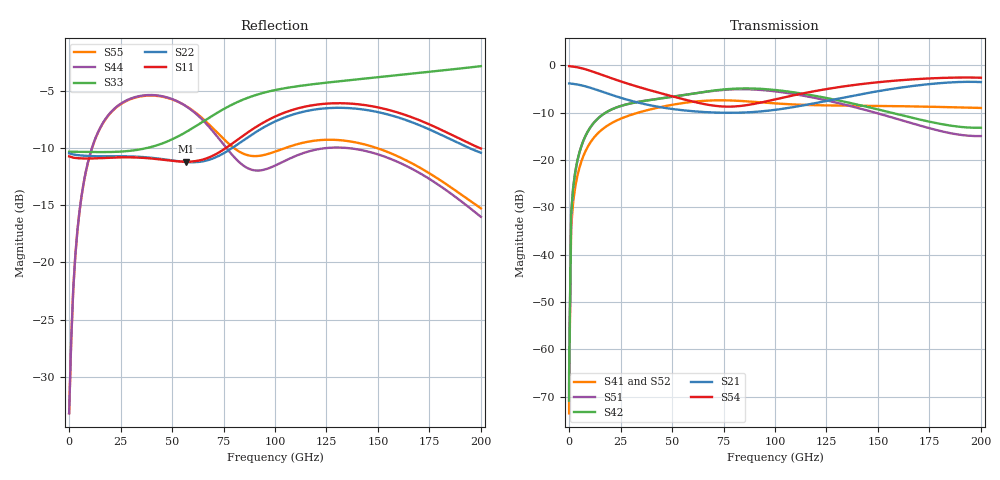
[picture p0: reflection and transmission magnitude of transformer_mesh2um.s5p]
! Created with skrf 2.1.0 (http://scikit-rf.org).
# GHz S DB R 50.0
! Port[1] = P1
! Port[2] = P2
! Port[3] = P3
! Port[4] = P4
! Port[5] = P5
!freq dBS11 angS11 dBS12 angS12 dBS13 angS13
! dBS14 angS14 dBS15 angS15
! dBS21 angS21 dBS22 angS22 dBS23 angS23
! dBS24 angS24 dBS25 angS25
! dBS31 angS31 dBS32 angS32 dBS33 angS33
! dBS34 angS34 dBS35 angS35
! dBS41 angS41 dBS42 angS42 dBS43 angS43
! dBS44 angS44 dBS45 angS45
! dBS51 angS51 dBS52 angS52 dBS53 angS53
! dBS54 angS54 dBS55 angS55
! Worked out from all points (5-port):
!   202 points, 10 MHz to 200 GHz, reference 50 ohm
!   strongest paths, dB at 10 MHz, 49 GHz, 100 GHz, 150 GHz, 200 GHz:
!     S54: -0.2, -6.4, -7.2, -3.6, -2.6
!     S21: -3.8, -9.2, -9.4, -5.5, -3.6
!     S42: -70.8, -6.7, -5.2, -9.3, -13.2
!     S51: -70.9, -6.7, -5.5, -10.2, -15.0
!     S41: -73.5, -8.4, -8.1, -8.6, -9.0
!     S52: -73.5, -8.5, -8.1, -8.7, -9.3
!   lowest |S11| = -11.2 dB at 57 GHz (marker M1), VSWR 1.76, Z = 72.1 + j26.4 ohm
!   |S11| at or under -10 dB: start of sweep to 76.2 GHz; 199.3551 GHz to end of sweep
